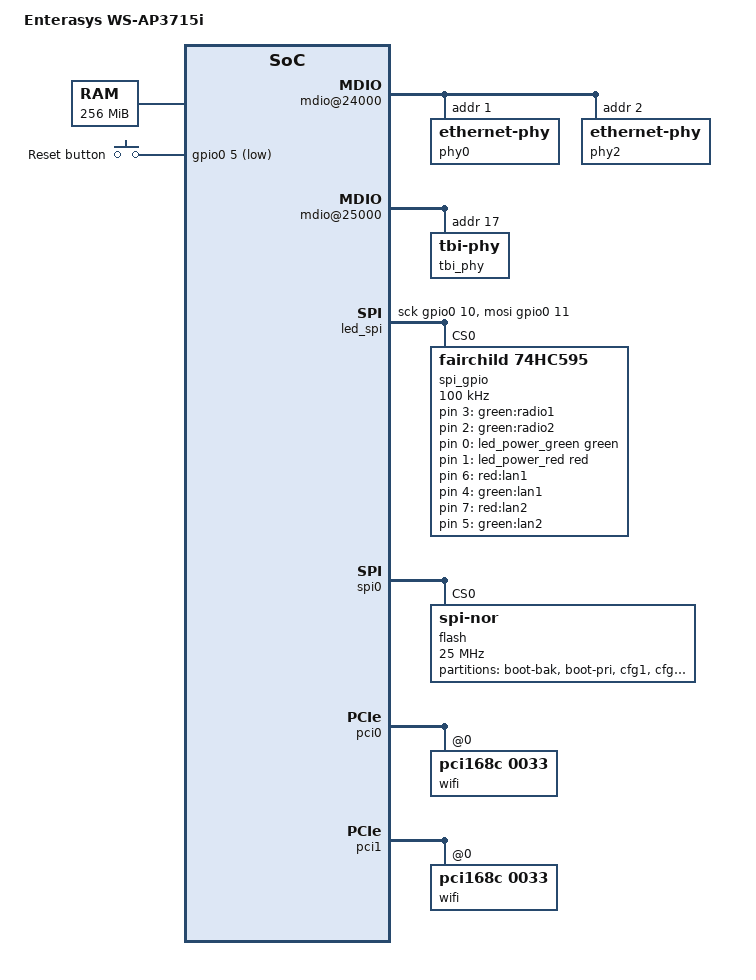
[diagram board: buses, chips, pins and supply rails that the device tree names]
// SPDX-License-Identifier: GPL-2.0-or-later or MIT

#include <dt-bindings/gpio/gpio.h>
#include <dt-bindings/input/input.h>
#include <dt-bindings/leds/common.h>

/include/ "fsl/p1010si-pre.dtsi"

/ {
	model = "Enterasys WS-AP3715i";
	compatible = "enterasys,ws-ap3715i";

	aliases {
		led-boot = &led_power_green;
		led-failsafe = &led_power_red;
		led-running = &led_power_green;
		led-upgrade = &led_power_red;
		label-mac-device = &enet0;
	};

	chosen {
		bootargs = "console=ttyS0,115200";
	};

	memory {
		device_type = "memory";
		reg = <0x0 0x0 0x0 0x10000000>;
	};

	leds {
		compatible = "gpio-leds";

		wifi1 {
			gpios = <&spi_gpio 3 GPIO_ACTIVE_HIGH>;
			label = "green:radio1";
			linux,default-trigger = "phy1tpt";
		};

		wifi2 {
			gpios = <&spi_gpio 2 GPIO_ACTIVE_HIGH>;
			label = "green:radio2";
			linux,default-trigger = "phy0tpt";
		};

		led_power_green: power_green {
			gpios = <&spi_gpio 0 GPIO_ACTIVE_HIGH>;
			function = LED_FUNCTION_POWER;
			color = <LED_COLOR_ID_GREEN>;
		};

		led_power_red: power_red {
			gpios = <&spi_gpio 1 GPIO_ACTIVE_HIGH>;
			function = LED_FUNCTION_POWER;
			color = <LED_COLOR_ID_RED>;
		};

		lan1_red {
			gpios = <&spi_gpio 6 GPIO_ACTIVE_HIGH>;
			label = "red:lan1";
		};

		lan1_green {
			gpios = <&spi_gpio 4 GPIO_ACTIVE_HIGH>;
			label = "green:lan1";
		};

		lan2_red {
			gpios = <&spi_gpio 7 GPIO_ACTIVE_HIGH>;
			label = "red:lan2";
		};

		lan2_green {
			gpios = <&spi_gpio 5 GPIO_ACTIVE_HIGH>;
			label = "green:lan2";
		};
	};

	keys {
		compatible = "gpio-keys";

		reset {
			label = "Reset button";
			gpios = <&gpio0 5 GPIO_ACTIVE_LOW>;
			linux,code = <KEY_RESTART>;
		};
	};

	soc: soc@ffe00000 {
		ranges = <0x0 0x0 0xffe00000 0x100000>;

		gpio0: gpio-controller@fc00 {
		};

		usb@22000 {
			status = "disabled";
		};

		mdio@24000 {
			phy0: ethernet-phy@0 {
				reg = <0x1>;
			};

			phy2: ethernet-phy@2 {
				reg = <0x2>;
			};
		};

		mdio@25000 {
			tbi_phy: tbi-phy@11 {
				reg = <0x11>;
			};
		};

		mdio@26000 {
			status = "disabled";
		};

		enet0: ethernet@b0000 {
			phy-handle = <&phy0>;
			phy-connection-type = "rgmii-id";

			nvmem-cells = <&macaddr_cfg1_ethaddr 0>;
			nvmem-cell-names = "mac-address";

			label = "lan1";
		};

		enet1: ethernet@b1000 {
			phy-handle = <&phy2>;
			phy-connection-type = "sgmii";

			tbi-handle = <&tbi_phy>;

			nvmem-cells = <&macaddr_cfg1_ethaddr 1>;
			nvmem-cell-names = "mac-address";

			label = "lan2";
		};

		enet2: ethernet@b2000 {
			status = "disabled";
		};

		sdhc@2e000 {
			status = "disabled";
		};
	};

	ifc: ifc@ffe1e000 {
		reg = <0x0 0xffe1e000 0 0x2000>;

		status = "disabled";
	};

	pci0: pcie@ffe09000 {
		reg = <0 0xffe09000 0 0x1000>;
		ranges = <0x2000000 0x0 0xa0000000 0 0xa0000000 0x0 0x20000000>,
			  <0x1000000 0x0 0x00000000 0 0xffc10000 0x0 0x10000>;
		pcie@0 {
			ranges = <0x2000000 0x0 0xa0000000
				  0x2000000 0x0 0xa0000000
				  0x0 0x20000000>,
				 <0x1000000 0x0 0x0
				  0x1000000 0x0 0x0
				  0x0 0x100000>;

			wifi@0,0 {
				compatible = "pci168c,0033";
				reg = <0x0 0 0 0 0>;
				ieee80211-freq-limit = <2400000 2500000>;
			};
		};
	};

	pci1: pcie@ffe0a000 {
		reg = <0 0xffe0a000 0 0x1000>;
		ranges = <0x2000000 0x0 0x80000000 0 0x80000000 0x0 0x20000000>,
			  <0x1000000 0x0 0x00000000 0 0xffc00000 0x0 0x10000>;
		pcie@0 {
			ranges = <0x2000000 0x0 0x80000000
				  0x2000000 0x0 0x80000000
				  0x0 0x20000000>,
				 <0x1000000 0x0 0x0
				  0x1000000 0x0 0x0
				  0x0 0x100000>;

			wifi@0,0 {
				compatible = "pci168c,0033";
				reg = <0x0 0 0 0 0>;
				ieee80211-freq-limit = <5000000 6000000>;
			};
		};
	};
};

&soc {
	led_spi {
		compatible = "spi-gpio";
		#address-cells = <1>;
		#size-cells = <0>;

		sck-gpios = <&gpio0 10 GPIO_ACTIVE_HIGH>;
		mosi-gpios = <&gpio0 11 GPIO_ACTIVE_HIGH>;
		num-chipselects = <0>;

		spi_gpio: led_gpio@0 {
			compatible = "fairchild,74hc595";
			reg = <0>;
			gpio-controller;
			#gpio-cells = <2>;
			registers-number = <1>;
			spi-max-frequency = <100000>;
		};
	};

	spi0: spi@7000 {
		flash@0 {
			compatible = "jedec,spi-nor";
			reg = <0>;
			spi-max-frequency = <25000000>;

			partitions {
				compatible = "fixed-partitions";
				#address-cells = <1>;
				#size-cells = <1>;

				partition@0 {
					reg = <0x0 0xa0000>;
					label = "boot-bak";
					read-only;
				};

				partition@a0000 {
					reg = <0xa0000 0xa0000>;
					label = "boot-pri";
					read-only;
				};

				partition@120000 {
					reg = <0x120000 0x10000>;
					label = "cfg1";

					nvmem-layout {
						compatible = "u-boot,env-redundant-bool";
						env-size = <0x1000>;

						macaddr_cfg1_ethaddr: ethaddr {
							#nvmem-cell-cells = <1>;
						};
					};
				};

				partition@130000 {
					reg = <0x130000 0x10000>;
					label = "cfg2";
				};

				partition@140000 {
					compatible = "denx,uimage";
					reg = <0x140000 0x1d80000>;
					label = "firmware";
				};

				partition@1ec0000 {
					reg = <0x1ec0000 0x100000>;
					label = "nvram";
					read-only;
				};
			};
		};
	};
};

/include/ "fsl/p1010si-post.dtsi"

/ {
	cpus {
		PowerPC,P1010@0 {
			bus-frequency = <399999996>;
			timebase-frequency = <50000000>;
			clock-frequency = <799999992>;
			d-cache-block-size = <0x20>;
			d-cache-size = <0x8000>;
			d-cache-sets = <0x80>;
			i-cache-block-size = <0x20>;
			i-cache-size = <0x8000>;
			i-cache-sets = <0x80>;
		};
	};

	soc@ffe00000 {
		bus-frequency = <399999996>;

		serial@4600 {
			clock-frequency = <399999996>;
			status = "disabled";
		};

		serial@4500 {
			clock-frequency = <399999996>;
		};

		pic@40000 {
			clock-frequency = <399999996>;
		};
	};
};

/*
 * For the OpenWrt 22.03 release, since Linux 5.10.138 now uses
 * aliases to determine PCI domain numbers, drop aliases so as not to
 * change the sysfs path of our wireless netdevs.
 */

/ {
	aliases {
		/delete-property/ pci0;
		/delete-property/ pci1;
	};
};

